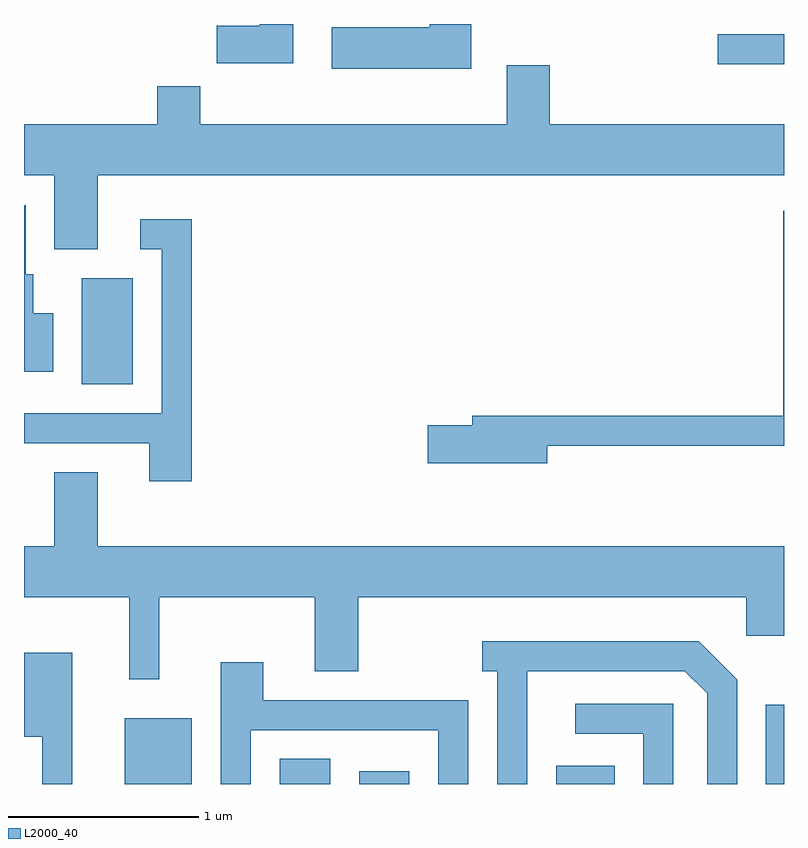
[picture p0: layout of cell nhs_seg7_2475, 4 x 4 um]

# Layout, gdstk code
import gdstk
lib = gdstk.Library(unit=1e-6, precision=1e-09)
def R(c, l, rs):  # rectangles x0, y0, x1, y1
    for r in rs: c.add(gdstk.rectangle(r[:2], r[2:], *l))
def P(c, l, *ps):  # polygons
    for p in ps: c.add(gdstk.Polygon(p, *l))
L2000_40 = (2000, 40)

nhs_seg7_2475 = lib.new_cell('nhs_seg7_2475')
R(nhs_seg7_2475, L2000_40, [(262.141,1682.252,262.494,1682.599), (262.956,1682.252,263.224,1682.384), (263.376,1682.252,263.639,1682.319), (264.411,1682.252,264.719,1682.349), (265.516,1682.252,265.611,1682.669), (261.916,1684.356,262.184,1684.914), (265.263,1686.041,265.611,1686.199)])
P(nhs_seg7_2475, L2000_40, [(263.964,1686.252),(263.746,1686.252),(263.746,1686.234),(263.231,1686.234),(263.231,1686.016),(263.964,1686.016)],
  [(263.029,1686.252),(262.851,1686.252),(262.851,1686.244),(262.626,1686.244),(262.626,1686.046),(263.029,1686.046)],
  [(261.999,1685.456),(265.611,1685.456),(265.611,1685.724),(264.379,1685.724),(264.379,1686.034),(264.151,1686.034),(264.151,1685.724),(262.539,1685.724),(262.539,1685.924),(262.311,1685.924),(262.311,1685.724),(261.611,1685.724),(261.611,1685.456),(261.771,1685.456),(261.771,1685.066),(261.999,1685.066)],
  [(261.764,1684.729),(261.659,1684.729),(261.659,1684.934),(261.619,1684.934),(261.619,1685.299),(261.611,1685.299),(261.611,1684.421),(261.764,1684.421)],
  [(264.364,1684.031),(265.611,1684.031),(265.611,1685.269),(265.606,1685.269),(265.606,1684.189),(263.971,1684.189),(263.971,1684.139),(263.736,1684.139),(263.736,1683.941),(264.364,1683.941)],
  [(262.494,1685.224),(262.223,1685.224),(262.223,1685.066),(262.336,1685.066),(262.336,1684.204),(261.611,1684.204),(261.611,1684.046),(262.271,1684.046),(262.271,1683.846),(262.494,1683.846)],
  [(262.324,1683.236),(263.141,1683.236),(263.141,1682.846),(263.369,1682.846),(263.369,1683.236),(265.411,1683.236),(265.411,1683.031),(265.611,1683.031),(265.611,1683.504),(261.999,1683.504),(261.999,1683.894),(261.771,1683.894),(261.771,1683.504),(261.611,1683.504),(261.611,1683.236),(262.166,1683.236),(262.166,1682.803),(262.324,1682.803)],
  [(264.259,1682.846),(265.089,1682.846),(265.206,1682.729),(265.206,1682.252),(265.364,1682.252),(265.364,1682.802),(265.162,1683.004),(264.023,1683.004),(264.023,1682.846),(264.101,1682.846),(264.101,1682.252),(264.259,1682.252)],
  [(261.864,1682.944),(261.611,1682.944),(261.611,1682.501),(261.706,1682.501),(261.706,1682.252),(261.864,1682.252)],
  [(262.804,1682.536),(263.791,1682.536),(263.791,1682.252),(263.949,1682.252),(263.949,1682.694),(262.869,1682.694),(262.869,1682.894),(262.646,1682.894),(262.646,1682.252),(262.804,1682.252)],
  [(265.029,1682.674),(264.513,1682.674),(264.513,1682.516),(264.871,1682.516),(264.871,1682.252),(265.029,1682.252)])

lib.write_gds('nhs_seg7_2475.gds')
